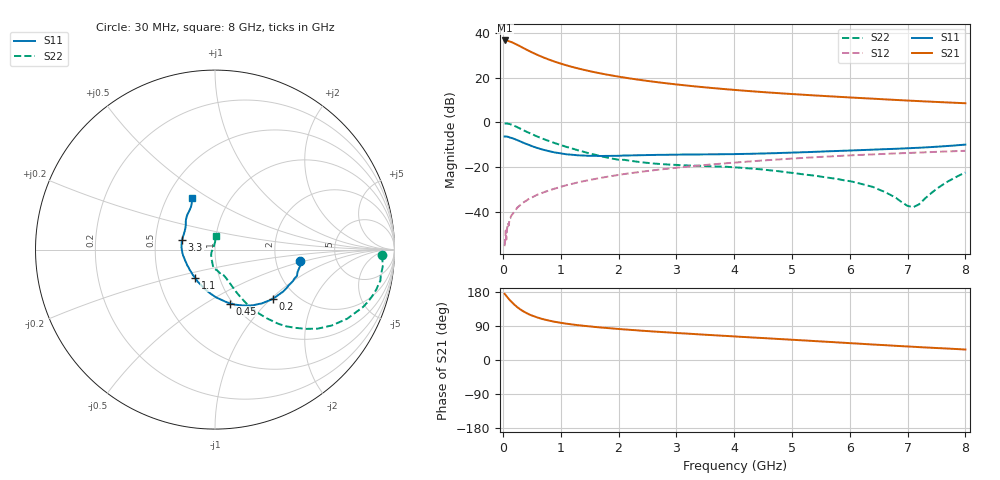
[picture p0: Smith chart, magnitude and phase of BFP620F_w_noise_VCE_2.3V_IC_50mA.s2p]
! Infineon Technologies  Discrete & RF Semiconductors
! BFP620F
! VCE =  2.3 V,  IC =  50 mA
! Common Emitter S-Parameters:  Dec 2014
# GHz  S  MA  R  50
!  f  S11  S21  S12  S22
! GHz  MAG  ANG  MAG  ANG  MAG  ANG  MAG  ANG
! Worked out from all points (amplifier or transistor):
!   95 points, 30 MHz to 8 GHz, reference 50 ohm
!   highest |S21| = 36.6 dB at 40 MHz (marker M1)
!   |S21| within 3 dB of that: start of sweep to 326.5 MHz
!   unconditionally stable (mu >= 1): 1.882 GHz to end of sweep
!   at 300 MHz: K = 0.51, MSG = 35.5 dB, |S12| = -37.0 dB
!   at 3.3 GHz: K = 1.03, MAG = 16.7 dB, |S12| = -19.6 dB
!   at 8 GHz: K = 1.05, MAG = 9.2 dB, |S12| = -12.8 dB
!   lowest NFmin = 1.55 dB at 450 MHz
!   S11 on the Smith chart (normalised r, x): 30 MHz: 2.76, -0.44; 200 MHz: 1.53, -1.03; 450 MHz: 0.97, -0.65; 1.1 GHz: 0.77, -0.25; 3.3 GHz: 0.69, +0.07; 8 GHz: 0.66, +0.42
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0.03  0.4796 -7.3  67.43 174.8  0.0017 68.9  0.9292 -1.9
0.04  0.4794 -9.0  67.44 172.8  0.0024 86.0  0.9344 -3.7
0.08  0.4799 -17.7  66.52 165.2  0.0049 90.1  0.9375 -10.7
0.12  0.456 -26.0  63.84 158.1  0.0071 77.3  0.9108 -17.0
0.15  0.446 -31.6  61.87 153.3  0.0083 78.2  0.8837 -21.3
0.2  0.4231 -40.6  57.8 145.9  0.01 72.6  0.8312 -27.6
0.25  0.3982 -48.7  53.8 139.3  0.0124 72.7  0.776 -33.0
0.3  0.375 -55.9  49.82 133.7  0.0141 72.9  0.722 -37.6
0.35  0.3505 -62.8  45.98 128.8  0.016 71.2  0.6703 -41.2
0.45  0.3122 -74.2  39.53 120.7  0.0194 70.7  0.5822 -47.2
0.6  0.2652 -89.1  31.98 112.0  0.0242 70.6  0.4775 -53.1
0.7  0.2427 -97.4  28.2 107.5  0.027 70.3  0.4237 -56.0
0.9  0.2111 -112.2  22.6 100.8  0.033 70.3  0.3417 -60.0
1.1  0.1924 -125.1  18.75 95.8  0.0392 70.1  0.2817 -62.6
1.4  0.1807 -141.5  14.88 90.2  0.0483 69.4  0.2184 -65.4
2  0.1783 -166.0  10.48 81.9  0.0666 67.1  0.1457 -72.6
2.7  0.1871 175.8  7.79 74.3  0.0873 63.6  0.1173 -83.9
3.3  0.1909 164.3  6.388 68.6  0.1049 60.2  0.1073 -90.6
4.1  0.1956 151.3  5.171 61.3  0.1282 55.5  0.0968 -95.6
5.4  0.2187 138.1  3.977 49.9  0.1655 47.1  0.064 -106.0
6.7  0.2528 126.3  3.208 38.3  0.1987 37.9  0.024 -142.8
8  0.3171 114.3  2.664 27.6  0.2304 29.2  0.0752 85.1
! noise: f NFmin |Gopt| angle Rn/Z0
0.45  1.55  0.23  -171  0.17
0.9  1.58  0.23  -171  0.15
1.5  1.6  0.27  -155  0.1
1.8  1.61  0.27  -153  0.1
1.9  1.62  0.27  -151  0.1
2.4  1.63  0.27  214  0.11
3.5  1.71  0.28  221  0.13
5.5  1.82  0.32  252  0.22
6  1.84  0.32  261  0.28
